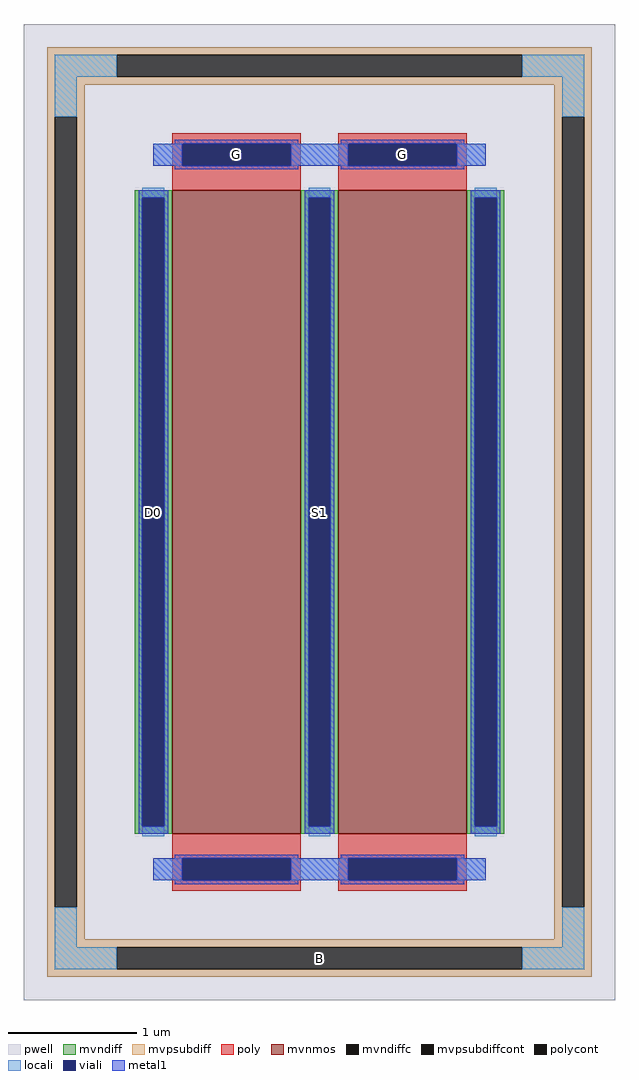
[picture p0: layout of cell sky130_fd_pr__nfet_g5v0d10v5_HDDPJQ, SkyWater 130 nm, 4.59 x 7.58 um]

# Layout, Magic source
magic
tech sky130A
magscale 1 2
<< pwell >>
rect -459 -758 459 758
<< mvnmos >>
rect -229 -500 -29 500
rect 29 -500 229 500
<< mvndiff >>
rect -287 488 -229 500
rect -287 -488 -275 488
rect -241 -488 -229 488
rect -287 -500 -229 -488
rect -29 488 29 500
rect -29 -488 -17 488
rect 17 -488 29 488
rect -29 -500 29 -488
rect 229 488 287 500
rect 229 -488 241 488
rect 275 -488 287 488
rect 229 -500 287 -488
<< mvndiffc >>
rect -275 -488 -241 488
rect -17 -488 17 488
rect 241 -488 275 488
<< mvpsubdiff >>
rect -423 710 423 722
rect -423 676 -315 710
rect 315 676 423 710
rect -423 664 423 676
rect -423 614 -365 664
rect -423 -614 -411 614
rect -377 -614 -365 614
rect 365 614 423 664
rect -423 -664 -365 -614
rect 365 -614 377 614
rect 411 -614 423 614
rect 365 -664 423 -614
rect -423 -676 423 -664
rect -423 -710 -315 -676
rect 315 -710 423 -676
rect -423 -722 423 -710
<< mvpsubdiffcont >>
rect -315 676 315 710
rect -411 -614 -377 614
rect 377 -614 411 614
rect -315 -710 315 -676
<< poly >>
rect -229 572 -29 588
rect -229 538 -213 572
rect -45 538 -29 572
rect -229 500 -29 538
rect 29 572 229 588
rect 29 538 45 572
rect 213 538 229 572
rect 29 500 229 538
rect -229 -538 -29 -500
rect -229 -572 -213 -538
rect -45 -572 -29 -538
rect -229 -588 -29 -572
rect 29 -538 229 -500
rect 29 -572 45 -538
rect 213 -572 229 -538
rect 29 -588 229 -572
<< polycont >>
rect -213 538 -45 572
rect 45 538 213 572
rect -213 -572 -45 -538
rect 45 -572 213 -538
<< locali >>
rect -411 676 -315 710
rect 315 676 411 710
rect -411 614 -377 676
rect 377 614 411 676
rect -258 538 -213 572
rect -45 538 45 572
rect 213 538 258 572
rect -275 488 -241 504
rect -275 -504 -241 -488
rect -17 488 17 504
rect -17 -504 17 -488
rect 241 488 275 504
rect 241 -504 275 -488
rect -258 -572 -213 -538
rect -45 -572 45 -538
rect 213 -572 258 -538
rect -411 -676 -377 -614
rect 377 -676 411 -614
rect -411 -710 -315 -676
rect 315 -710 411 -676
<< viali >>
rect -213 538 -45 572
rect 45 538 213 572
rect -275 -488 -241 488
rect -17 -488 17 488
rect 241 -488 275 488
rect -213 -572 -45 -538
rect 45 -572 213 -538
<< metal1 >>
rect -225 572 -33 578
rect 33 572 225 578
rect -258 538 -213 572
rect -45 538 45 572
rect 213 538 258 572
rect -225 532 -33 538
rect 33 532 225 538
rect -281 488 -235 500
rect -281 -488 -275 488
rect -241 -488 -235 488
rect -281 -500 -235 -488
rect -23 488 23 500
rect -23 -488 -17 488
rect 17 -488 23 488
rect -23 -500 23 -488
rect 235 488 281 500
rect 235 -488 241 488
rect 275 -488 281 488
rect 235 -500 281 -488
rect -225 -538 -33 -532
rect 33 -538 225 -532
rect -258 -572 -213 -538
rect -45 -572 45 -538
rect 213 -572 258 -538
rect -225 -578 -33 -572
rect 33 -578 225 -572
<< labels >>
rlabel mvpsubdiffcont 0 -693 0 -693 0 B
port 1 nsew
rlabel mvndiffc -258 0 -258 0 0 D0
port 2 nsew
rlabel polycont -129 555 -129 555 0 G
port 3 nsew
rlabel mvndiffc 0 0 0 0 0 S1
port 4 nsew
rlabel polycont 129 555 129 555 0 G
port 3 nsew
<< properties >>
string FIXED_BBOX -394 -693 394 693
string gencell sky130_fd_pr__nfet_g5v0d10v5
string library sky130
string parameters w 5 l 1 m 1 nf 2 diffcov 100 polycov 100 guard 1 glc 1 grc 1 gtc 1 gbc 1 tbcov 100 rlcov 100 topc 1 botc 1 poverlap 0 doverlap 1 lmin 0.50 wmin 0.42 class mosfet compatible {sky130_fd_pr__nfet_01v8 sky130_fd_pr__nfet_01v8_lvt  sky130_fd_bs_flash__special_sonosfet_star  sky130_fd_pr__nfet_g5v0d10v5 sky130_fd_pr__nfet_05v0_nvt  sky130_fd_pr__nfet_03v3_nvt} full_metal 1 conn_gates 1 viasrc 100 viadrn 100 viagate 100 viagb 0 viagr 0 viagl 0 viagt 0 doports 1
<< end >>
